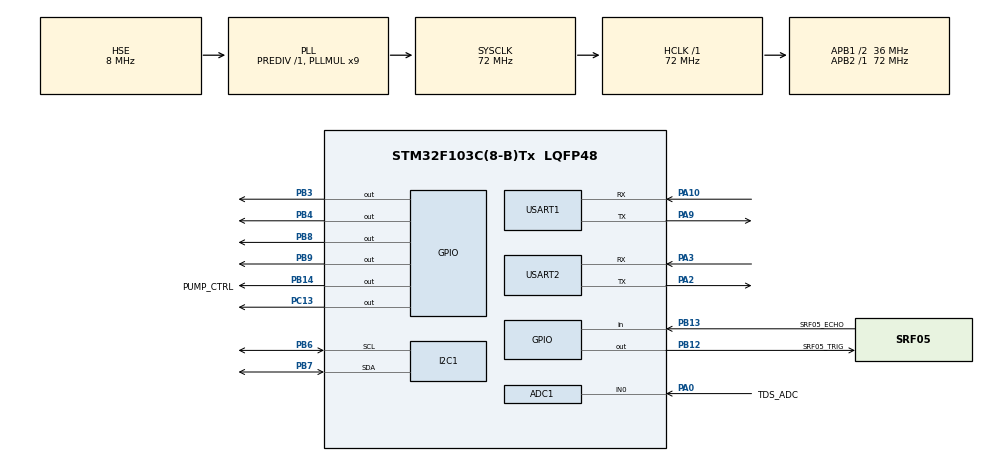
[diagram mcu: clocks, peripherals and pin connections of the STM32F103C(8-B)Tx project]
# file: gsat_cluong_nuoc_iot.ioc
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ADC1.Channel-0\#ChannelRegularConversion=ADC_CHANNEL_0
ADC1.NbrOfConversionFlag=1
ADC1.Rank-0\#ChannelRegularConversion=1
ADC1.SamplingTime-0\#ChannelRegularConversion=ADC_SAMPLETIME_1CYCLE_5
ADC1.master=1
Mcu.Family=STM32F1
Mcu.Name=STM32F103C(8-B)Tx
Mcu.Package=LQFP48
NVIC.PriorityGroup=NVIC_PRIORITYGROUP_4
NVIC.USART1_IRQn=true\:0\:0\:false\:false\:true\:true\:true\:true
PA0-WKUP.GPIO_Label=TDS_ADC
PA0-WKUP.Signal=ADCx_IN0
PA10.Mode=Asynchronous
PA10.Signal=USART1_RX
PA13.Mode=Serial_Wire
PA13.Signal=SYS_JTMS-SWDIO
PA14.Mode=Serial_Wire
PA14.Signal=SYS_JTCK-SWCLK
PA2.Mode=Asynchronous
PA2.Signal=USART2_TX
PA3.Mode=Asynchronous
PA3.Signal=USART2_RX
PA9.Mode=Asynchronous
PA9.Signal=USART1_TX
PB12.GPIO_Label=SRF05_TRIG
PB12.Signal=GPIO_Output
PB13.GPIO_Label=SRF05_ECHO
PB13.Signal=GPIO_Input
PB14.GPIO_Label=PUMP_CTRL
PB14.Signal=GPIO_Output
PB3.Signal=GPIO_Output
PB4.Signal=GPIO_Output
PB6.Mode=I2C
PB6.Signal=I2C1_SCL
PB7.Mode=I2C
PB7.Signal=I2C1_SDA
PB8.Signal=GPIO_Output
PB9.Signal=GPIO_Output
PC13-TAMPER-RTC.Signal=GPIO_Output
PD0-OSC_IN.Mode=HSE-External-Oscillator
PD0-OSC_IN.Signal=RCC_OSC_IN
PD1-OSC_OUT.Mode=HSE-External-Oscillator
PD1-OSC_OUT.Signal=RCC_OSC_OUT
ProjectManager.HeapSize=0x200
ProjectManager.StackSize=0x400
ProjectManager.TargetToolchain=MDK-ARM V5.32
RCC.ADCPresc=RCC_ADCPCLK2_DIV6
RCC.AHBFreq_Value=72000000
RCC.APB1CLKDivider=RCC_HCLK_DIV2
RCC.APB1Freq_Value=36000000
RCC.APB1TimFreq_Value=72000000
RCC.APB2Freq_Value=72000000
RCC.APB2TimFreq_Value=72000000
RCC.HCLKFreq_Value=72000000
RCC.PLLMUL=RCC_PLL_MUL9
RCC.PLLSourceVirtual=RCC_PLLSOURCE_HSE
RCC.SYSCLKFreq_VALUE=72000000
RCC.SYSCLKSource=RCC_SYSCLKSOURCE_PLLCLK
RCC.USBFreq_Value=72000000
SH.ADCx_IN0.0=ADC1_IN0,IN0
TIM2.Prescaler=71
USART1.VirtualMode=VM_ASYNC
USART2.VirtualMode=VM_ASYNC
VP_TIM2_VS_ClockSourceINT.Mode=Internal
board=custom

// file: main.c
/* USER CODE BEGIN Header */
/**
  ******************************************************************************
  * @file           : main.c
  * @brief          : Main program body
  ******************************************************************************
  */
/* USER CODE END Header */
#include "main.h"
#include "adc.h"
#include "i2c.h"
#include "tim.h"
#include "usart.h"
#include "gpio.h"

/* USER CODE BEGIN Includes */
#include <stdio.h>
#include <string.h>
#include <math.h>
#include "lcd_i2c.h"
/* USER CODE END Includes */

/* USER CODE BEGIN PD */

/* Cam bien */
#define TDS_ADC_CHANNEL              ADC_CHANNEL_0
#define TURBIDITY_ADC_CHANNEL        ADC_CHANNEL_8
#define ADC_SAMPLE_COUNT             10
#define FILTER_ALPHA                 0.20f

/* Bien tro dieu chinh toc do mo phong thoi gian
   Chon 1 chan ADC con trong, vi du PA2 = ADC_CHANNEL_2 */
#define POT_ADC_CHANNEL              ADC_CHANNEL_1

/* SRF05 o be chua */
#define WATER_LOW_DISTANCE_CM        25.0f
#define WATER_HIGH_DISTANCE_CM       10.0f

/* Nguong phan loai */
#define TDS_WARNING_PPM_THRESHOLD    500.0f
#define NTU_DIRTY_THRESHOLD          280.0f

/* Bom */
#define PUMP_PORT                    GPIOB
#define PUMP_PIN                     GPIO_PIN_14

/* Neu relay active LOW thi doi 2 dong duoi */
#define PUMP_ON_LEVEL                GPIO_PIN_SET
#define PUMP_OFF_LEVEL               GPIO_PIN_RESET

/* SRF05 */
#define SRF05_TRIG_PORT              GPIOB
#define SRF05_TRIG_PIN               GPIO_PIN_12
#define SRF05_ECHO_PORT              GPIOB
#define SRF05_ECHO_PIN               GPIO_PIN_13

/* LED + BUZZER */
#define LED_GREEN_PORT               GPIOB
#define LED_GREEN_PIN                GPIO_PIN_3
#define LED_YELLOW_PORT              GPIOB
#define LED_YELLOW_PIN               GPIO_PIN_4
#define LED_RED_PORT                 GPIOB
#define LED_RED_PIN                  GPIO_PIN_8
#define BUZZER_PORT                  GPIOB
#define BUZZER_PIN                   GPIO_PIN_9

/* NTU mapping */
#define TURB_VOLT_NTU_0              1.50f
#define TURB_VOLT_NTU_100            1.40f
#define TURB_VOLT_NTU_200            1.30f
#define TURB_VOLT_NTU_300            1.20f
#define TURB_VOLT_NTU_400            1.10f
#define TURB_VOLT_NTU_500            1.00f
#define TURB_VOLT_NTU_700            0.95f
#define TURB_VOLT_NTU_1000           0.90f

/* Mo phong thoi gian
   1 phut ao se tang sau khoang SIM_BASE_TICK_MS / speed_factor ms
   speed_factor lay tu bien tro */
#define SIM_BASE_TICK_MS             1000U

/* 2 moc gio bom */
#define PUMP_TIME1_HOUR              6
#define PUMP_TIME1_MIN               0
#define PUMP_TIME2_HOUR              18
#define PUMP_TIME2_MIN               0

/* USER CODE END PD */

/* USER CODE BEGIN PV */
uint16_t tds_adc_value = 0;
float tds_voltage = 0.0f;
float tds_ppm = 0.0f;

uint16_t turb_adc_value = 0;
float turb_voltage = 0.0f;
float turb_ntu = 0.0f;

uint16_t pot_adc_value = 0;
float sim_speed_factor = 1.0f;

float distance_cm = -99.0f;
uint32_t pulse_width_us = 0;

uint8_t pump_state = 0;
uint8_t water_quality = 0;      /* 0 clean, 1 warning, 2 dirty */
uint8_t warning_level = 0;      /* 0 green, 1 yellow, 2 red */
uint8_t fill_request = 0;       /* 1 = dang den chu ky bom */

uint8_t display_hold = 0;
uint32_t display_hold_tick = 0;

uint8_t show_due_message = 0;
uint32_t show_due_tick = 0;

char line1[17];
char line2[17];
char last_line1[17] = "";
char last_line2[17] = "";
char uart_tx_buf[220];

const char ready_msg[] = "STM32 WATER SYSTEM READY\r\n";

/* Bien reset LCD khi doi trang thai */
uint8_t last_lcd_state = 0xFF;

/* Dong ho mo phong */
uint8_t sim_hour = 5;
uint8_t sim_min = 58;
uint32_t sim_clock_tick = 0;

/* Danh dau da kich hoat lich bom trong phut hien tai */
uint8_t schedule_triggered_this_minute = 0;
/* USER CODE END PV */

void SystemClock_Config(void);
/* USER CODE BEGIN PFP */
void delay_us(uint16_t us);
void Set_Pump(uint8_t on);
void LCD_PrintLine(uint8_t row, const char *text);
void LCD_Reset(void);
uint8_t LCD_GetStateCode(void);

uint16_t Read_ADC_Channel_Avg(uint32_t channel, uint16_t samples);
float Read_TDS_Voltage(void);
float Read_Turbidity_Voltage(void);
float Convert_TDS_To_PPM(float voltage);
float MapFloat(float x, float in_min, float in_max, float out_min, float out_max);
float Convert_Turbidity_To_NTU(float voltage);
float SRF05_Read_Distance_CM(uint32_t *pulse_us);
float SRF05_Read_Distance_Filtered(uint32_t *pulse_us);

float Read_Sim_Speed_Factor(void);
void Simulated_Clock_Update(void);
void Check_Scheduled_Pump_Request(void);

void Water_Quality_Check(void);
void Pump_Control_With_Quality(float distance);
void Warning_Level_Update(void);
void Alarm_Output_Control(void);
void LCD_Show_Status(void);
void UART_Send_Data(void);
/* USER CODE END PFP */

/* USER CODE BEGIN 0 */

void delay_us(uint16_t us)
{
  __HAL_TIM_SET_COUNTER(&htim2, 0);
  while (__HAL_TIM_GET_COUNTER(&htim2) < us);
}

void Set_Pump(uint8_t on)
{
  HAL_GPIO_WritePin(PUMP_PORT, PUMP_PIN, on ? PUMP_ON_LEVEL : PUMP_OFF_LEVEL);
  pump_state = on ? 1 : 0;
}

void LCD_PrintLine(uint8_t row, const char *text)
{
  char buf[17];
  size_t len = strlen(text);

  if (len > 16) len = 16;

  memset(buf, ' ', 16);
  memcpy(buf, text, len);
  buf[16] = '\0';

  if (row == 0)
  {
    if (strcmp(buf, last_line1) != 0)
    {
      LCD_SetCursor(0, 0);
      LCD_Print(buf);
      strcpy(last_line1, buf);
    }
  }
  else
  {
    if (strcmp(buf, last_line2) != 0)
    {
      LCD_SetCursor(0, 1);
      LCD_Print(buf);
      strcpy(last_line2, buf);
    }
  }
}

void LCD_Reset(void)
{
  LCD_Clear();
  HAL_Delay(2);
  LCD_Init();
  HAL_Delay(5);
  LCD_Backlight();
  HAL_Delay(2);

  last_line1[0] = '\0';
  last_line2[0] = '\0';
}

uint8_t LCD_GetStateCode(void)
{
  uint8_t state = 0;

  state |= (water_quality & 0x03);
  state |= ((warning_level & 0x03) << 2);
  state |= ((fill_request & 0x01) << 4);
  state |= ((pump_state & 0x01) << 5);
  state |= ((display_hold & 0x01) << 6);
  state |= ((show_due_message & 0x01) << 7);

  return state;
}

uint16_t Read_ADC_Channel_Avg(uint32_t channel, uint16_t samples)
{
  ADC_ChannelConfTypeDef sConfig = {0};
  uint32_t sum = 0;
  uint16_t i;

  if (samples == 0) samples = 1;

  sConfig.Channel = channel;
  sConfig.Rank = ADC_REGULAR_RANK_1;
  sConfig.SamplingTime = ADC_SAMPLETIME_239CYCLES_5;
  HAL_ADC_ConfigChannel(&hadc1, &sConfig);

  for (i = 0; i < samples; i++)
  {
    HAL_ADC_Start(&hadc1);
    HAL_ADC_PollForConversion(&hadc1, 50);
    sum += HAL_ADC_GetValue(&hadc1);
    HAL_ADC_Stop(&hadc1);
    HAL_Delay(2);
  }

  return (uint16_t)(sum / samples);
}

float Read_TDS_Voltage(void)
{
  static float filtered_voltage = 0.0f;
  float new_voltage;

  tds_adc_value = Read_ADC_Channel_Avg(TDS_ADC_CHANNEL, ADC_SAMPLE_COUNT);
  new_voltage = ((float)tds_adc_value * 3.3f) / 4095.0f;

  if (filtered_voltage == 0.0f)
    filtered_voltage = new_voltage;
  else
    filtered_voltage = (1.0f - FILTER_ALPHA) * filtered_voltage + FILTER_ALPHA * new_voltage;

  return filtered_voltage;
}

float Convert_TDS_To_PPM(float voltage)
{
  float v = voltage;
  float ppm;

  if (v < 0.0f) v = 0.0f;
  if (v > 3.3f) v = 3.3f;

  ppm = (133.42f * v * v * v - 255.86f * v * v + 857.39f * v) * 0.5f;

  if (ppm < 0.0f) ppm = 0.0f;
  if (ppm > 2000.0f) ppm = 2000.0f;

  return ppm;
}

float Read_Turbidity_Voltage(void)
{
  static float filtered_voltage = 0.0f;
  float new_voltage;

  turb_adc_value = Read_ADC_Channel_Avg(TURBIDITY_ADC_CHANNEL, ADC_SAMPLE_COUNT);
  new_voltage = ((float)turb_adc_value * 3.3f) / 4095.0f;

  if (filtered_voltage == 0.0f)
    filtered_voltage = new_voltage;
  else
    filtered_voltage = (1.0f - FILTER_ALPHA) * filtered_voltage + FILTER_ALPHA * new_voltage;

  return filtered_voltage;
}

float MapFloat(float x, float in_min, float in_max, float out_min, float out_max)
{
  return (x - in_min) * (out_max - out_min) / (in_max - in_min) + out_min;
}

float Convert_Turbidity_To_NTU(float voltage)
{
  float ntu;

  ntu = (1.9f - voltage) * 900.0f;

  if (ntu < 0.0f) ntu = 0.0f;
  if (ntu > 1000.0f) ntu = 1000.0f;

  return ntu;
}

float SRF05_Read_Distance_CM(uint32_t *pulse_us)
{
  HAL_GPIO_WritePin(SRF05_TRIG_PORT, SRF05_TRIG_PIN, GPIO_PIN_RESET);
  delay_us(5);

  HAL_GPIO_WritePin(SRF05_TRIG_PORT, SRF05_TRIG_PIN, GPIO_PIN_SET);
  delay_us(10);
  HAL_GPIO_WritePin(SRF05_TRIG_PORT, SRF05_TRIG_PIN, GPIO_PIN_RESET);

  delay_us(20);

  __HAL_TIM_SET_COUNTER(&htim2, 0);
  while (HAL_GPIO_ReadPin(SRF05_ECHO_PORT, SRF05_ECHO_PIN) == GPIO_PIN_RESET)
  {
    if (__HAL_TIM_GET_COUNTER(&htim2) > 30000)
    {
      *pulse_us = 0;
      return -1.0f;
    }
  }

  __HAL_TIM_SET_COUNTER(&htim2, 0);
  while (HAL_GPIO_ReadPin(SRF05_ECHO_PORT, SRF05_ECHO_PIN) == GPIO_PIN_SET)
  {
    if (__HAL_TIM_GET_COUNTER(&htim2) > 30000)
    {
      *pulse_us = __HAL_TIM_GET_COUNTER(&htim2);
      return -2.0f;
    }
  }

  *pulse_us = __HAL_TIM_GET_COUNTER(&htim2);

  if (*pulse_us < 50)
    return -3.0f;

  return ((float)(*pulse_us) * 0.0343f) / 2.0f;
}

float SRF05_Read_Distance_Filtered(uint32_t *pulse_us)
{
  float d[3];
  uint32_t p;
  float sum = 0.0f;
  int count = 0;
  int i;

  for (i = 0; i < 3; i++)
  {
    d[i] = SRF05_Read_Distance_CM(&p);
    if (d[i] >= 0.0f)
    {
      sum += d[i];
      count++;
      *pulse_us = p;
    }
    HAL_Delay(20);
  }

  if (count == 0)
    return -1.0f;

  return sum / count;
}

float Read_Sim_Speed_Factor(void)
{
  float factor;

  pot_adc_value = Read_ADC_Channel_Avg(POT_ADC_CHANNEL, 8);

  /* map 0..4095 -> 1..60
     nghia la toi da nhanh gap 60 lan
     1 giay that = 60 phut ao */
  factor = 1.0f + ((float)pot_adc_value / 4095.0f) * 59.0f;

  if (factor < 1.0f) factor = 1.0f;
  if (factor > 60.0f) factor = 60.0f;

  return factor;
}

void Simulated_Clock_Update(void)
{
  uint32_t now = HAL_GetTick();
  uint32_t interval_ms;

  sim_speed_factor = Read_Sim_Speed_Factor();

  interval_ms = (uint32_t)((float)SIM_BASE_TICK_MS / sim_speed_factor);
  if (interval_ms < 20U) interval_ms = 20U;

  if ((now - sim_clock_tick) >= interval_ms)
  {
    sim_clock_tick = now;

    sim_min++;
    if (sim_min >= 60)
    {
      sim_min = 0;
      sim_hour++;
      if (sim_hour >= 24)
      {
        sim_hour = 0;
      }
    }
  }
}

void Check_Scheduled_Pump_Request(void)
{
  uint8_t is_schedule_time = 0;

  if ((sim_hour == PUMP_TIME1_HOUR) && (sim_min == PUMP_TIME1_MIN))
    is_schedule_time = 1;

  if ((sim_hour == PUMP_TIME2_HOUR) && (sim_min == PUMP_TIME2_MIN))
    is_schedule_time = 1;

  if (is_schedule_time)
  {
    if (schedule_triggered_this_minute == 0)
    {
      fill_request = 1;
      display_hold = 1;
      display_hold_tick = HAL_GetTick();

      show_due_message = 1;
      show_due_tick = HAL_GetTick();

      schedule_triggered_this_minute = 1;
    }
  }
  else
  {
    schedule_triggered_this_minute = 0;
  }
}

void Water_Quality_Check(void)
{
  if ((tds_ppm <= 300.0f) && (turb_ntu <= 280.0f))
  {
    water_quality = 0;
  }
  else if ((tds_ppm > 300.0f) || (turb_ntu > 280.0f))
  {
    water_quality = 2;
  }
  else
  {
    water_quality = 0;
  }
}

void Pump_Control_With_Quality(float distance)
{
  if (fill_request == 0)
  {
    Set_Pump(0);
    return;
  }

  if (water_quality == 2)
  {
    Set_Pump(0);
    return;
  }

  if (distance < 0.0f)
  {
    Set_Pump(0);
    return;
  }

  if ((distance > WATER_LOW_DISTANCE_CM) && (pump_state == 0))
  {
    Set_Pump(1);
  }
  else if ((distance < WATER_HIGH_DISTANCE_CM) && (pump_state == 1))
  {
    Set_Pump(0);
  }
}

void Warning_Level_Update(void)
{
  if (water_quality == 2)
  {
    warning_level = 2;
  }
  else
  {
    warning_level = 0;
  }
}
void Alarm_Output_Control(void)
{
  HAL_GPIO_WritePin(LED_GREEN_PORT, LED_GREEN_PIN, GPIO_PIN_RESET);
  HAL_GPIO_WritePin(LED_YELLOW_PORT, LED_YELLOW_PIN, GPIO_PIN_RESET);
  HAL_GPIO_WritePin(LED_RED_PORT, LED_RED_PIN, GPIO_PIN_RESET);
  HAL_GPIO_WritePin(BUZZER_PORT, BUZZER_PIN, GPIO_PIN_RESET);

  if (warning_level == 0)
  {

    HAL_GPIO_WritePin(LED_GREEN_PORT, LED_GREEN_PIN, GPIO_PIN_SET);
  }
  else
  {

    HAL_GPIO_WritePin(LED_RED_PORT, LED_RED_PIN, GPIO_PIN_SET);
    HAL_GPIO_WritePin(BUZZER_PORT, BUZZER_PIN, GPIO_PIN_SET);
  }
}

void LCD_Show_Status(void)
{
  uint8_t current_lcd_state = LCD_GetStateCode();

  if (current_lcd_state != last_lcd_state)
  {
    LCD_Reset();
    last_lcd_state = current_lcd_state;
  }

  /* Hien thong bao den gio bom trong 2 giay */
  if (show_due_message && (HAL_GetTick() - show_due_tick < 2000))
  {
    snprintf(line1, sizeof(line1), "TIME %02u:%02u x%02.0f", sim_hour, sim_min, sim_speed_factor);
    snprintf(line2, sizeof(line2), "DEN GIO BOM");
    LCD_PrintLine(0, line1);
    LCD_PrintLine(1, line2);
    return;
  }
  else
  {
    show_due_message = 0;
  }

  /* Dong 1: thoi gian mo phong */
  snprintf(line1, sizeof(line1), "TIME %02u:%02u ", sim_hour, sim_min);

  /* Dong 2: NTU va PPM cung 1 dong */
  snprintf(line2, sizeof(line2), "NTU%3.0f PPM%4.0f", turb_ntu, tds_ppm);

  LCD_PrintLine(0, line1);
  LCD_PrintLine(1, line2);
}

void UART_Send_Data(void)
{
  if (distance_cm < 0.0f)
  {
    snprintf(uart_tx_buf, sizeof(uart_tx_buf),
             "TIME:%02u:%02u,SPEED:%.1f,PPM:%.0f,NTU:%.1f,D:ERR,Q:%u,F:%u,H:%u,S:%u,P:%u,PULSE:%lu\r\n",
             sim_hour, sim_min, sim_speed_factor, tds_ppm, turb_ntu,
             water_quality, fill_request, display_hold,
             show_due_message, pump_state, pulse_width_us);
  }
  else
  {
    snprintf(uart_tx_buf, sizeof(uart_tx_buf),
             "TIME:%02u:%02u,SPEED:%.1f,PPM:%.0f,NTU:%.1f,D:%.1f,Q:%u,F:%u,H:%u,S:%u,P:%u,PULSE:%lu\r\n",
             sim_hour, sim_min, sim_speed_factor, tds_ppm, turb_ntu,
             distance_cm, water_quality, fill_request, display_hold,
             show_due_message, pump_state, pulse_width_us);
  }

  HAL_UART_Transmit(&huart2, (uint8_t*)uart_tx_buf, strlen(uart_tx_buf), 100);
  HAL_UART_Transmit(&huart1, (uint8_t*)uart_tx_buf, strlen(uart_tx_buf), 100);
}

/* USER CODE END 0 */

int main(void)
{

  /* MCU Configuration--------------------------------------------------------*/

  /* Reset of all peripherals, Initializes the Flash interface and the Systick. */
  HAL_Init();

  /* Configure the system clock */
  SystemClock_Config();

  /* Initialize all configured peripherals */
  MX_GPIO_Init();
  MX_ADC1_Init();
  MX_I2C1_Init();
  MX_TIM2_Init();
  MX_USART1_UART_Init();
  MX_USART2_UART_Init();
  /* USER CODE BEGIN 2 */
  HAL_TIM_Base_Start(&htim2);

  HAL_GPIO_WritePin(SRF05_TRIG_PORT, SRF05_TRIG_PIN, GPIO_PIN_RESET);
  Set_Pump(0);

  HAL_GPIO_WritePin(LED_GREEN_PORT, LED_GREEN_PIN, GPIO_PIN_RESET);
  HAL_GPIO_WritePin(LED_YELLOW_PORT, LED_YELLOW_PIN, GPIO_PIN_RESET);
  HAL_GPIO_WritePin(LED_RED_PORT, LED_RED_PIN, GPIO_PIN_RESET);
  HAL_GPIO_WritePin(BUZZER_PORT, BUZZER_PIN, GPIO_PIN_RESET);

  HAL_Delay(100);
  LCD_Init();
  HAL_Delay(50);
  LCD_Backlight();
  HAL_Delay(20);

  last_line1[0] = '\0';
  last_line2[0] = '\0';

  LCD_PrintLine(0, "HE THONG NUOC");
  LCD_PrintLine(1, "DONG HO AO...");
  HAL_Delay(1200);

  last_line1[0] = '\0';
  last_line2[0] = '\0';
  last_lcd_state = 0xFF;

  sim_clock_tick = HAL_GetTick();

  HAL_UART_Transmit(&huart2, (uint8_t*)ready_msg, strlen(ready_msg), 100);
  HAL_UART_Transmit(&huart1, (uint8_t*)ready_msg, strlen(ready_msg), 100);
  /* USER CODE END 2 */

  /* Infinite loop */
  /* USER CODE BEGIN WHILE */
 while (1)
{
  Simulated_Clock_Update();
  Check_Scheduled_Pump_Request();

  tds_voltage = Read_TDS_Voltage();
  tds_ppm = Convert_TDS_To_PPM(tds_voltage);

  turb_voltage = Read_Turbidity_Voltage();
  turb_ntu = Convert_Turbidity_To_NTU(turb_voltage);

  Water_Quality_Check();

  if (fill_request)
  {
    distance_cm = SRF05_Read_Distance_Filtered(&pulse_width_us);
  }
  else
  {
    distance_cm = -99.0f;
    pulse_width_us = 0;
  }

  Pump_Control_With_Quality(distance_cm);

  if (display_hold)
  {
    if ((HAL_GetTick() - display_hold_tick) > 2000)
    {
      display_hold = 0;

      if ((distance_cm < 0.0f) || (water_quality == 2) || (pump_state == 0))
      {
        fill_request = 0;
      }
    }
  }

  if (fill_request && (pump_state == 0) &&
      (distance_cm >= WATER_HIGH_DISTANCE_CM) &&
      (distance_cm <= WATER_LOW_DISTANCE_CM))
  {
    fill_request = 0;
    display_hold = 0;
  }

  Warning_Level_Update();
  Alarm_Output_Control();
  LCD_Show_Status();
  UART_Send_Data();

  HAL_Delay(100);
}
}

void SystemClock_Config(void)
{
  RCC_OscInitTypeDef RCC_OscInitStruct = {0};
  RCC_ClkInitTypeDef RCC_ClkInitStruct = {0};
  RCC_PeriphCLKInitTypeDef PeriphClkInit = {0};

  /** Initializes the RCC Oscillators according to the specified parameters
  * in the RCC_OscInitTypeDef structure.
  */
  RCC_OscInitStruct.OscillatorType = RCC_OSCILLATORTYPE_HSE;
  RCC_OscInitStruct.HSEState = RCC_HSE_ON;
  RCC_OscInitStruct.HSEPredivValue = RCC_HSE_PREDIV_DIV1;
  RCC_OscInitStruct.HSIState = RCC_HSI_ON;
  RCC_OscInitStruct.PLL.PLLState = RCC_PLL_ON;
  RCC_OscInitStruct.PLL.PLLSource = RCC_PLLSOURCE_HSE;
  RCC_OscInitStruct.PLL.PLLMUL = RCC_PLL_MUL9;
  if (HAL_RCC_OscConfig(&RCC_OscInitStruct) != HAL_OK)
  {
    Error_Handler();
  }

  /** Initializes the CPU, AHB and APB buses clocks
  */
  RCC_ClkInitStruct.ClockType = RCC_CLOCKTYPE_HCLK|RCC_CLOCKTYPE_SYSCLK
                              |RCC_CLOCKTYPE_PCLK1|RCC_CLOCKTYPE_PCLK2;
  RCC_ClkInitStruct.SYSCLKSource = RCC_SYSCLKSOURCE_PLLCLK;
  RCC_ClkInitStruct.AHBCLKDivider = RCC_SYSCLK_DIV1;
  RCC_ClkInitStruct.APB1CLKDivider = RCC_HCLK_DIV2;
  RCC_ClkInitStruct.APB2CLKDivider = RCC_HCLK_DIV1;

  if (HAL_RCC_ClockConfig(&RCC_ClkInitStruct, FLASH_LATENCY_2) != HAL_OK)
  {
    Error_Handler();
  }
  PeriphClkInit.PeriphClockSelection = RCC_PERIPHCLK_ADC;
  PeriphClkInit.AdcClockSelection = RCC_ADCPCLK2_DIV6;
  if (HAL_RCCEx_PeriphCLKConfig(&PeriphClkInit) != HAL_OK)
  {
    Error_Handler();
  }
}

void Error_Handler(void)
{
  __disable_irq();
  while (1)
  {
  }
}
